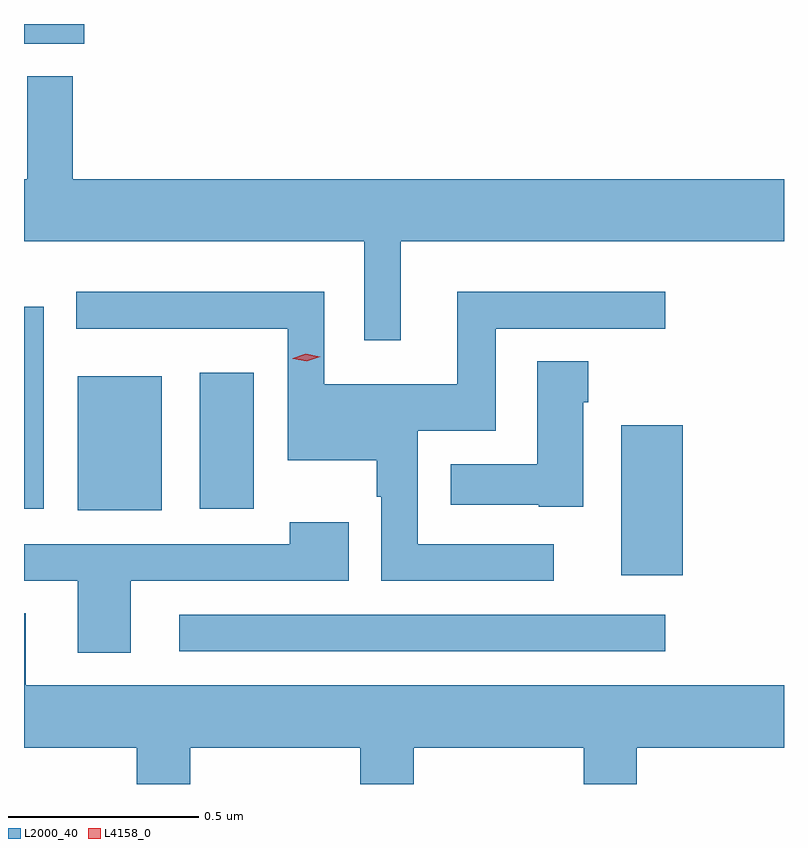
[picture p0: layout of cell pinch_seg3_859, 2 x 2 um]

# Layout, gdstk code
import gdstk
lib = gdstk.Library(unit=1e-6, precision=1e-09)
def R(c, l, rs):  # rectangles x0, y0, x1, y1
    for r in rs: c.add(gdstk.rectangle(r[:2], r[2:], *l))
def P(c, l, *ps):  # polygons
    for p in ps: c.add(gdstk.Polygon(p, *l))
L2000_40 = (2000, 40)
L4158_0 = (4158, 0)

pinch_seg3_859 = lib.new_cell('pinch_seg3_859')
R(pinch_seg3_859, L2000_40, [(708.987,729.141,710.266,729.237), (710.15,729.341,710.311,729.736), (708.719,729.512,708.94,729.865), (708.578,729.516,708.63,730.048), (709.04,729.516,709.183,729.874), (708.578,730.74,708.736,730.792)])
P(pinch_seg3_859, L2000_40, [(709.57,730.22),(710.578,730.22),(710.578,730.384),(708.706,730.384),(708.706,730.655),(708.587,730.655),(708.587,730.384),(708.578,730.384),(708.578,730.22),(709.473,730.22),(709.473,729.96),(709.57,729.96)],
  [(709.972,729.423),(709.614,729.423),(709.614,729.722),(709.819,729.722),(709.819,729.99),(710.266,729.99),(710.266,730.087),(709.718,730.087),(709.718,729.844),(709.368,729.844),(709.368,730.087),(708.715,730.087),(708.715,729.99),(709.272,729.99),(709.272,729.644),(709.506,729.644),(709.506,729.548),(709.518,729.548),(709.518,729.327),(709.972,729.327)],
  [(710.05,729.797),(710.063,729.797),(710.063,729.905),(709.928,729.905),(709.928,729.634),(709.701,729.634),(709.701,729.527),(709.932,729.527),(709.932,729.521),(710.05,729.521)],
  [(708.859,729.327),(709.433,729.327),(709.433,729.481),(709.277,729.481),(709.277,729.423),(708.578,729.423),(708.578,729.327),(708.719,729.327),(708.719,729.138),(708.859,729.138)],
  [(708.583,729.242),(708.578,729.242),(708.578,728.888),(708.875,728.888),(708.875,728.792),(709.015,728.792),(709.015,728.888),(709.463,728.888),(709.463,728.792),(709.603,728.792),(709.603,728.888),(710.051,728.888),(710.051,728.792),(710.191,728.792),(710.191,728.888),(710.578,728.888),(710.578,729.052),(708.583,729.052)])
P(pinch_seg3_859, L4158_0, [(709.322,729.904),(709.285,729.911),(709.285,729.912),(709.285,729.912),(709.32,729.924),(709.357,729.917),(709.357,729.917),(709.357,729.916)])

lib.write_gds('pinch_seg3_859.gds')
